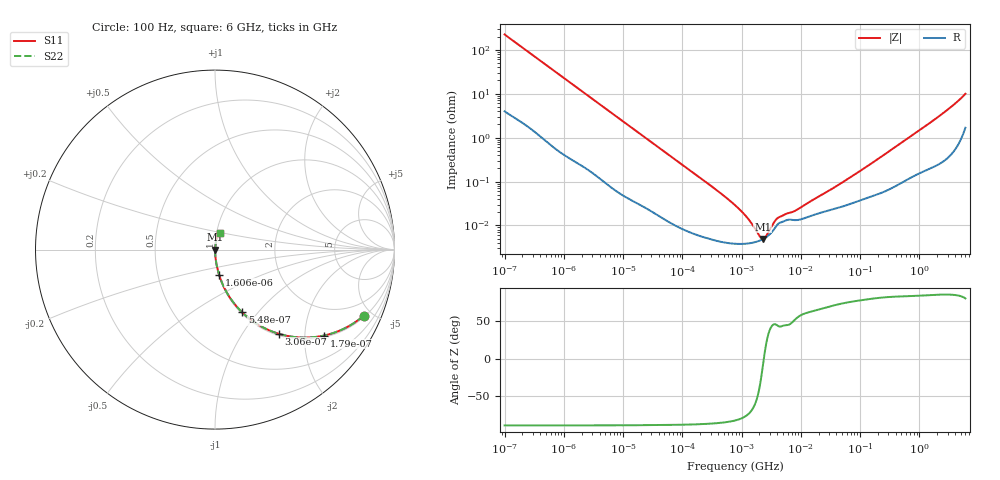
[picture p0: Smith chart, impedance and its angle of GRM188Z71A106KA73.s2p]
!Murata Part Number: GRM188Z71A106KA73
!These Parameters are Measured in Series Mode Connection
!Data Generated on Mar 30, 2021
!  o--ll--o
!Port1  Port2
!  o------o
!Operation Temp=25[degC], DC Bias Voltage=0[V]
!Freq. Start=100[Hz] Stop=6[GHz] 401[Steps]
# Hz S RI R 50
!Freq.(Hz) S11(Real) S11(Imag) S21(Real) S21(Imag) S12(Real) S12(Imag) S22(Real) S22(Imag)
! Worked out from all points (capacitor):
!   401 points, 100 Hz to 6 GHz, reference 50 ohm
!   read as one part in series: C = 7.12 uF near 109 Hz
!   lowest |Z| = 4.95 mohm at 2.269 MHz (marker M1)
!   series resonance near 2.375 MHz, so ESL is about 630 pH
!   S11 on the Smith chart (normalised r, x): 100 Hz: 1.08, -4.45; 179 Hz: 1.05, -2.50; 306 Hz: 1.03, -1.47; 548 Hz: 1.01, -0.83; 1.606 kHz: 1.01, -0.29; 6 GHz: 1.03, +0.20
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100  0.8277 -0.3688  0.1723 0.3688  0.1723 0.3688  0.8277 -0.3688
120  0.7725 -0.4103  0.2275 0.4103  0.2275 0.4103  0.7725 -0.4103
179  0.6085 -0.4786  0.3915 0.4786  0.3915 0.4786  0.6085 -0.4786
306  0.3548 -0.4689  0.6452 0.4689  0.6452 0.4689  0.3548 -0.4689
548  0.1513 -0.3494  0.8487 0.3494  0.8487 0.3494  0.1513 -0.3494
897  0.0646 -0.2371  0.9354 0.2371  0.9354 0.2371  0.0646 -0.2371
1606  0.0226 -0.1395  0.9774 0.1395  0.9774 0.1395  0.0226 -0.1395
2008  0.0152 -0.1127  0.9848 0.1127  0.9848 0.1127  0.0152 -0.1127
6433  0.00204 -0.0363  0.998 0.0363  0.998 0.0363  0.00204 -0.0363
40335  0.000199 -0.00594  0.9998 0.00594  0.9998 0.00594  0.000199 -0.00594
330837  4.74e-05 -0.000732  1 0.000732  1 0.000732  4.74e-05 -0.000732
774597  3.84e-05 -0.000288  1 0.000288  1 0.000288  3.84e-05 -0.000288
1585629  4.09e-05 -8.78e-05  1 8.78e-05  1 8.78e-05  4.09e-05 -8.78e-05
2268635  4.85e-05 -9.7e-06  1 9.7e-06  1 9.7e-06  4.85e-05 -9.7e-06
3103719  6.62e-05 5.77e-05  0.9999 -5.77e-05  0.9999 -5.77e-05  6.62e-05 5.77e-05
4246196  0.000112 0.000105  0.9999 -0.000105  0.9999 -0.000105  0.000112 0.000105
7947587  0.000132 0.000169  0.9999 -0.000169  0.9999 -0.000169  0.000132 0.000169
1.555665e7  0.000169 0.000334  0.9998 -0.000334  0.9998 -0.000334  0.000169 0.000334
5.449875e7  0.00028 0.000986  0.9997 -0.000986  0.9997 -0.000986  0.00028 0.000986
3.124326e8  0.000688 0.00488  0.9993 -0.00488  0.9993 -0.00488  0.000688 0.00488
2.048624e9  0.00323 0.0289  0.9968 -0.0289  0.9968 -0.0289  0.00323 0.0289
6e9  0.0255 0.0939  0.9745 -0.0939  0.9745 -0.0939  0.0255 0.0939
